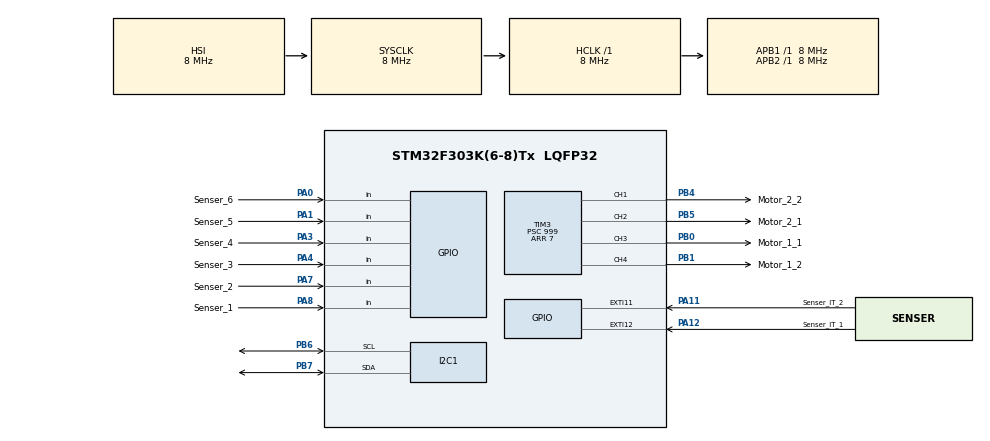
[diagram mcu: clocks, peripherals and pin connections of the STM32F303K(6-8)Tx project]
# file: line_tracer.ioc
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Mcu.Family=STM32F3
Mcu.Name=STM32F303K(6-8)Tx
Mcu.Package=LQFP32
NVIC.EXTI15_10_IRQn=true\:1\:0\:true\:false\:true\:true
NVIC.PriorityGroup=NVIC_PRIORITYGROUP_4
NVIC.TIM6_DAC1_IRQn=true\:1\:0\:true\:false\:true\:true
PA0.GPIO_Label=Senser_6
PA0.GPIO_PuPd=GPIO_PULLDOWN
PA0.Signal=GPIO_Input
PA1.GPIO_Label=Senser_5
PA1.GPIO_PuPd=GPIO_PULLDOWN
PA1.Signal=GPIO_Input
PA11.GPIO_Label=Senser_IT_2
PA11.GPIO_PuPd=GPIO_PULLDOWN
PA11.Signal=GPXTI11
PA12.GPIO_Label=Senser_IT_1
PA12.GPIO_PuPd=GPIO_PULLDOWN
PA12.Signal=GPXTI12
PA3.GPIO_Label=Senser_4
PA3.GPIO_PuPd=GPIO_PULLDOWN
PA3.Signal=GPIO_Input
PA4.GPIO_Label=Senser_3
PA4.GPIO_PuPd=GPIO_PULLDOWN
PA4.Signal=GPIO_Input
PA7.GPIO_Label=Senser_2
PA7.GPIO_PuPd=GPIO_PULLDOWN
PA7.Signal=GPIO_Input
PA8.GPIO_Label=Senser_1
PA8.GPIO_PuPd=GPIO_PULLDOWN
PA8.Signal=GPIO_Input
PB0.GPIO_Label=Motor_1_1
PB0.GPIO_PuPd=GPIO_PULLDOWN
PB0.Signal=S_TIM3_CH3
PB1.GPIO_Label=Motor_1_2
PB1.GPIO_PuPd=GPIO_PULLDOWN
PB1.Signal=S_TIM3_CH4
PB4.GPIO_Label=Motor_2_2
PB4.GPIO_PuPd=GPIO_PULLDOWN
PB4.Signal=S_TIM3_CH1
PB5.GPIO_Label=Motor_2_1
PB5.GPIO_PuPd=GPIO_PULLDOWN
PB5.Signal=S_TIM3_CH2
PB6.Mode=I2C
PB6.Signal=I2C1_SCL
PB7.Mode=I2C
PB7.Signal=I2C1_SDA
ProjectManager.HeapSize=0x200
ProjectManager.StackSize=0x400
ProjectManager.TargetToolchain=Makefile
RCC.AHBFreq_Value=8000000
RCC.APB1Freq_Value=8000000
RCC.APB2Freq_Value=8000000
RCC.CortexFreq_Value=8000000
RCC.HSE_VALUE=8000000
RCC.HSI_VALUE=8000000
RCC.SYSCLKFreq_VALUE=8000000
SH.S_TIM3_CH1.0=TIM3_CH1,PWM Generation1 CH1
SH.S_TIM3_CH2.0=TIM3_CH2,PWM Generation2 CH2
SH.S_TIM3_CH3.0=TIM3_CH3,PWM Generation3 CH3
SH.S_TIM3_CH4.0=TIM3_CH4,PWM Generation4 CH4
TIM3.Channel-PWM\ Generation1\ CH1=TIM_CHANNEL_1
TIM3.Channel-PWM\ Generation2\ CH2=TIM_CHANNEL_2
TIM3.Channel-PWM\ Generation3\ CH3=TIM_CHANNEL_3
TIM3.Channel-PWM\ Generation4\ CH4=TIM_CHANNEL_4
TIM3.Period=7
TIM3.Prescaler=999
TIM6.Period=7999
TIM6.Prescaler=1999
VP_TIM3_VS_ClockSourceINT.Mode=Internal
VP_TIM6_VS_ClockSourceINT.Mode=Enable_Timer
board=line_tracer

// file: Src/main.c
/**
  ******************************************************************************
  * @file           : main.c
  * @brief          : Main program body
  ******************************************************************************
  ** This notice applies to any and all portions of this file
  * that are not between comment pairs USER CODE BEGIN and
  * USER CODE END. Other portions of this file, whether
  * inserted by the user or by software development tools
  * are owned by their respective copyright owners.
  *
  * COPYRIGHT(c) 2018 STMicroelectronics
  *
  * Redistribution and use in source and binary forms, with or without modification,
  * are permitted provided that the following conditions are met:
  *   1. Redistributions of source code must retain the above copyright notice,
  *      this list of conditions and the following disclaimer.
  *   2. Redistributions in binary form must reproduce the above copyright notice,
  *      this list of conditions and the following disclaimer in the documentation
  *      and/or other materials provided with the distribution.
  *   3. Neither the name of STMicroelectronics nor the names of its contributors
  *      may be used to endorse or promote products derived from this software
  *      without specific prior written permission.
  *
  * THIS SOFTWARE IS PROVIDED BY THE COPYRIGHT HOLDERS AND CONTRIBUTORS "AS IS"
  * AND ANY EXPRESS OR IMPLIED WARRANTIES, INCLUDING, BUT NOT LIMITED TO, THE
  * IMPLIED WARRANTIES OF MERCHANTABILITY AND FITNESS FOR A PARTICULAR PURPOSE ARE
  * DISCLAIMED. IN NO EVENT SHALL THE COPYRIGHT HOLDER OR CONTRIBUTORS BE LIABLE
  * FOR ANY DIRECT, INDIRECT, INCIDENTAL, SPECIAL, EXEMPLARY, OR CONSEQUENTIAL
  * DAMAGES (INCLUDING, BUT NOT LIMITED TO, PROCUREMENT OF SUBSTITUTE GOODS OR
  * SERVICES; LOSS OF USE, DATA, OR PROFITS; OR BUSINESS INTERRUPTION) HOWEVER
  * CAUSED AND ON ANY THEORY OF LIABILITY, WHETHER IN CONTRACT, STRICT LIABILITY,
  * OR TORT (INCLUDING NEGLIGENCE OR OTHERWISE) ARISING IN ANY WAY OUT OF THE USE
  * OF THIS SOFTWARE, EVEN IF ADVISED OF THE POSSIBILITY OF SUCH DAMAGE.
  *
  ******************************************************************************
  */
#include "main.h"
#include "stm32f3xx_hal.h"

/* USER CODE BEGIN Includes */
#include "LCD.h"
/* USER CODE END Includes */

I2C_HandleTypeDef hi2c1;

TIM_HandleTypeDef htim3;
TIM_HandleTypeDef htim6;

/* USER CODE BEGIN PV */
/* Private variables ---------------------------------------------------------*/
LCD_HandleTypeDef hlcd;
/* USER CODE END PV */

void SystemClock_Config(void);
static void MX_GPIO_Init(void);
static void MX_TIM3_Init(void);
static void MX_TIM6_Init(void);
static void MX_I2C1_Init(void);

void HAL_TIM_MspPostInit(TIM_HandleTypeDef *htim);

/* USER CODE BEGIN PFP */
/* Private function prototypes -----------------------------------------------*/
static void change_duty(TIM_HandleTypeDef *htim, uint32_t channel, uint8_t duty);
static void MY_LCD_Init(void);
/* USER CODE END PFP */

/* USER CODE BEGIN 0 */
static void change_duty(TIM_HandleTypeDef *htim, uint32_t channel, uint8_t duty) {
  assert_param(IS_TIM_CHANNELS(channel));
  switch (channel)
  {
    case TIM_CHANNEL_1:
    {
      assert_param(IS_TIM_CC1_INSTANCE(htim->Instance));
      if (htim->Instance->CCMR1 & TIM_CCMR1_OC1PE)
          htim->Instance->CCR1 = duty;
    }
    break;
    case TIM_CHANNEL_2:
    {
      assert_param(IS_TIM_CC2_INSTANCE(htim->Instance));
      if (htim->Instance->CCMR1 & TIM_CCMR1_OC2PE)
          htim->Instance->CCR2 = duty;
    }
    break;
    case TIM_CHANNEL_3:
    {
      assert_param(IS_TIM_CC3_INSTANCE(htim->Instance));
      if (htim->Instance->CCMR2 & TIM_CCMR2_OC3PE)
          htim->Instance->CCR3 = duty;
    }
    break;
    case TIM_CHANNEL_4:
    {
      assert_param(IS_TIM_CC4_INSTANCE(htim->Instance));
      if (htim->Instance->CCMR2 & TIM_CCMR2_OC4PE)
          htim->Instance->CCR4 = duty;
    }
    break;
  }
}

void poll_sensers() {
    // TODO
#define PIN_STATE_TO_INT(state) ((state) == GPIO_PIN_SET ? 1 : 0)
#define SENSER_STATE(n) (PIN_STATE_TO_INT(HAL_GPIO_ReadPin(Senser_Port, Senser_ ## n ## _Pin))+'0')
    volatile GPIO_TypeDef* Port=Senser_Port;
    volatile uint32_t IDR = Senser_Port->IDR;
    /** char buf[8] = { */
    /**     SENSER_STATE(1), */
    /**     SENSER_STATE(2), */
    /**     SENSER_STATE(3), */
    /**     SENSER_STATE(4), */
    /**     SENSER_STATE(5), */
    /**     SENSER_STATE(6), */
    /**     '\0' */
    /** }; */
    /** LCD_Clear(&hlcd); */
    /** LCD_Write(&hlcd, buf);  */
    return;
}
/* USER CODE END 0 */

int main(void)
{

  /* MCU Configuration----------------------------------------------------------*/

  /* Reset of all peripherals, Initializes the Flash interface and the Systick. */
  HAL_Init();

  /* Configure the system clock */
  SystemClock_Config();

  /* Initialize all configured peripherals */
  MX_GPIO_Init();
  MX_TIM3_Init();
  MX_TIM6_Init();
  MX_I2C1_Init();
  /* USER CODE BEGIN 2 */
  // Initialize LCD
  /** MY_LCD_Init(); */

  // Initialize PWM
  change_duty(&htim3, Motor_1_1_Channel, 8);
  change_duty(&htim3, Motor_1_2_Channel, 1);
  change_duty(&htim3, Motor_2_1_Channel, 2);
  change_duty(&htim3, Motor_2_2_Channel, 0);

  HAL_TIM_PWM_Start(&htim3, Motor_1_1_Channel);
  HAL_TIM_PWM_Start(&htim3, Motor_1_2_Channel);
  HAL_TIM_PWM_Start(&htim3, Motor_2_1_Channel);
  HAL_TIM_PWM_Start(&htim3, Motor_2_2_Channel);

  HAL_TIM_Base_Start_IT(&htim6);

  /** LCD_Clear(&hlcd); */
  /** LCD_Write(&hlcd, "hello world"); */
  /* USER CODE END 2 */

  /* Infinite loop */
  while (1)
  {

  }

}

void SystemClock_Config(void)
{

  RCC_OscInitTypeDef RCC_OscInitStruct;
  RCC_ClkInitTypeDef RCC_ClkInitStruct;
  RCC_PeriphCLKInitTypeDef PeriphClkInit;

    /**Initializes the CPU, AHB and APB busses clocks
    */
  RCC_OscInitStruct.OscillatorType = RCC_OSCILLATORTYPE_HSI;
  RCC_OscInitStruct.HSIState = RCC_HSI_ON;
  RCC_OscInitStruct.HSICalibrationValue = 16;
  RCC_OscInitStruct.PLL.PLLState = RCC_PLL_NONE;
  if (HAL_RCC_OscConfig(&RCC_OscInitStruct) != HAL_OK)
  {
    _Error_Handler(__FILE__, __LINE__);
  }

    /**Initializes the CPU, AHB and APB busses clocks
    */
  RCC_ClkInitStruct.ClockType = RCC_CLOCKTYPE_HCLK|RCC_CLOCKTYPE_SYSCLK
                              |RCC_CLOCKTYPE_PCLK1|RCC_CLOCKTYPE_PCLK2;
  RCC_ClkInitStruct.SYSCLKSource = RCC_SYSCLKSOURCE_HSI;
  RCC_ClkInitStruct.AHBCLKDivider = RCC_SYSCLK_DIV1;
  RCC_ClkInitStruct.APB1CLKDivider = RCC_HCLK_DIV1;
  RCC_ClkInitStruct.APB2CLKDivider = RCC_HCLK_DIV1;

  if (HAL_RCC_ClockConfig(&RCC_ClkInitStruct, FLASH_LATENCY_0) != HAL_OK)
  {
    _Error_Handler(__FILE__, __LINE__);
  }

  PeriphClkInit.PeriphClockSelection = RCC_PERIPHCLK_I2C1;
  PeriphClkInit.I2c1ClockSelection = RCC_I2C1CLKSOURCE_HSI;
  if (HAL_RCCEx_PeriphCLKConfig(&PeriphClkInit) != HAL_OK)
  {
    _Error_Handler(__FILE__, __LINE__);
  }

    /**Configure the Systick interrupt time
    */
  HAL_SYSTICK_Config(HAL_RCC_GetHCLKFreq()/1000);

    /**Configure the Systick
    */
  HAL_SYSTICK_CLKSourceConfig(SYSTICK_CLKSOURCE_HCLK);

  /* SysTick_IRQn interrupt configuration */
  HAL_NVIC_SetPriority(SysTick_IRQn, 0, 0);
}

/* I2C1 init function */
static void MX_I2C1_Init(void)
{

  hi2c1.Instance = I2C1;
  hi2c1.Init.Timing = 0x2000090E;
  hi2c1.Init.OwnAddress1 = 0;
  hi2c1.Init.AddressingMode = I2C_ADDRESSINGMODE_7BIT;
  hi2c1.Init.DualAddressMode = I2C_DUALADDRESS_DISABLE;
  hi2c1.Init.OwnAddress2 = 0;
  hi2c1.Init.OwnAddress2Masks = I2C_OA2_NOMASK;
  hi2c1.Init.GeneralCallMode = I2C_GENERALCALL_DISABLE;
  hi2c1.Init.NoStretchMode = I2C_NOSTRETCH_DISABLE;
  if (HAL_I2C_Init(&hi2c1) != HAL_OK)
  {
    _Error_Handler(__FILE__, __LINE__);
  }

    /**Configure Analogue filter
    */
  if (HAL_I2CEx_ConfigAnalogFilter(&hi2c1, I2C_ANALOGFILTER_ENABLE) != HAL_OK)
  {
    _Error_Handler(__FILE__, __LINE__);
  }

    /**Configure Digital filter
    */
  if (HAL_I2CEx_ConfigDigitalFilter(&hi2c1, 0) != HAL_OK)
  {
    _Error_Handler(__FILE__, __LINE__);
  }

}

/* TIM3 init function */
static void MX_TIM3_Init(void)
{

  TIM_ClockConfigTypeDef sClockSourceConfig;
  TIM_MasterConfigTypeDef sMasterConfig;
  TIM_OC_InitTypeDef sConfigOC;

  htim3.Instance = TIM3;
  htim3.Init.Prescaler = 999;
  htim3.Init.CounterMode = TIM_COUNTERMODE_UP;
  htim3.Init.Period = 7;
  htim3.Init.ClockDivision = TIM_CLOCKDIVISION_DIV1;
  htim3.Init.AutoReloadPreload = TIM_AUTORELOAD_PRELOAD_DISABLE;
  if (HAL_TIM_Base_Init(&htim3) != HAL_OK)
  {
    _Error_Handler(__FILE__, __LINE__);
  }

  sClockSourceConfig.ClockSource = TIM_CLOCKSOURCE_INTERNAL;
  if (HAL_TIM_ConfigClockSource(&htim3, &sClockSourceConfig) != HAL_OK)
  {
    _Error_Handler(__FILE__, __LINE__);
  }

  if (HAL_TIM_PWM_Init(&htim3) != HAL_OK)
  {
    _Error_Handler(__FILE__, __LINE__);
  }

  sMasterConfig.MasterOutputTrigger = TIM_TRGO_RESET;
  sMasterConfig.MasterSlaveMode = TIM_MASTERSLAVEMODE_DISABLE;
  if (HAL_TIMEx_MasterConfigSynchronization(&htim3, &sMasterConfig) != HAL_OK)
  {
    _Error_Handler(__FILE__, __LINE__);
  }

  sConfigOC.OCMode = TIM_OCMODE_PWM1;
  sConfigOC.Pulse = 0;
  sConfigOC.OCPolarity = TIM_OCPOLARITY_HIGH;
  sConfigOC.OCFastMode = TIM_OCFAST_DISABLE;
  if (HAL_TIM_PWM_ConfigChannel(&htim3, &sConfigOC, TIM_CHANNEL_1) != HAL_OK)
  {
    _Error_Handler(__FILE__, __LINE__);
  }

  if (HAL_TIM_PWM_ConfigChannel(&htim3, &sConfigOC, TIM_CHANNEL_2) != HAL_OK)
  {
    _Error_Handler(__FILE__, __LINE__);
  }

  if (HAL_TIM_PWM_ConfigChannel(&htim3, &sConfigOC, TIM_CHANNEL_3) != HAL_OK)
  {
    _Error_Handler(__FILE__, __LINE__);
  }

  if (HAL_TIM_PWM_ConfigChannel(&htim3, &sConfigOC, TIM_CHANNEL_4) != HAL_OK)
  {
    _Error_Handler(__FILE__, __LINE__);
  }

  HAL_TIM_MspPostInit(&htim3);

}

/* TIM6 init function */
static void MX_TIM6_Init(void)
{

  TIM_MasterConfigTypeDef sMasterConfig;

  htim6.Instance = TIM6;
  htim6.Init.Prescaler = 999;
  htim6.Init.CounterMode = TIM_COUNTERMODE_UP;
  htim6.Init.Period = 7999;
  htim6.Init.AutoReloadPreload = TIM_AUTORELOAD_PRELOAD_DISABLE;
  if (HAL_TIM_Base_Init(&htim6) != HAL_OK)
  {
    _Error_Handler(__FILE__, __LINE__);
  }

  sMasterConfig.MasterOutputTrigger = TIM_TRGO_RESET;
  sMasterConfig.MasterSlaveMode = TIM_MASTERSLAVEMODE_DISABLE;
  if (HAL_TIMEx_MasterConfigSynchronization(&htim6, &sMasterConfig) != HAL_OK)
  {
    _Error_Handler(__FILE__, __LINE__);
  }

}

/** Configure pins as
        * Analog
        * Input
        * Output
        * EVENT_OUT
        * EXTI
*/
static void MX_GPIO_Init(void)
{

  GPIO_InitTypeDef GPIO_InitStruct;

  /* GPIO Ports Clock Enable */
  __HAL_RCC_GPIOA_CLK_ENABLE();
  __HAL_RCC_GPIOB_CLK_ENABLE();

  /*Configure GPIO pins : Senser_6_Pin Senser_5_Pin Senser_4_Pin Senser_3_Pin
                           Senser_2_Pin Senser_1_Pin */
  GPIO_InitStruct.Pin = Senser_6_Pin|Senser_5_Pin|Senser_4_Pin|Senser_3_Pin
                          |Senser_2_Pin|Senser_1_Pin;
  GPIO_InitStruct.Mode = GPIO_MODE_INPUT;
  GPIO_InitStruct.Pull = GPIO_PULLDOWN;
  HAL_GPIO_Init(GPIOA, &GPIO_InitStruct);

  /*Configure GPIO pins : Senser_IT_2_Pin Senser_IT_1_Pin */
  GPIO_InitStruct.Pin = Senser_IT_2_Pin|Senser_IT_1_Pin;
  GPIO_InitStruct.Mode = GPIO_MODE_IT_RISING;
  GPIO_InitStruct.Pull = GPIO_PULLDOWN;
  HAL_GPIO_Init(GPIOA, &GPIO_InitStruct);

  /* EXTI interrupt init*/
  HAL_NVIC_SetPriority(EXTI15_10_IRQn, 1, 0);
  HAL_NVIC_EnableIRQ(EXTI15_10_IRQn);

}

/* USER CODE BEGIN 4 */
static void MY_LCD_Init(void) {
  hlcd.addr = 0x7c;
  hlcd.hi2c = &hi2c1;
  hlcd.Init.line_num = LCD_DOUBLE_LINE;
  hlcd.Init.double_height = LCD_OFF;
  hlcd.Init.cursor = LCD_ON;
  hlcd.Init.blink = LCD_OFF;
  hlcd.Init.contrast = 6;
  if (LCD_Init(&hlcd) != HAL_OK)
  {
    _Error_Handler(__FILE__, __LINE__);
  }
}

void HAL_GPIO_EXTI_Callback (uint16_t GPIO_Pin) {
    switch (GPIO_Pin) {
        case Senser_IT_1_Pin:
            // TODO
            LCD_Clear(&hlcd);
            LCD_Write(&hlcd, "push 1");
            change_duty(&htim3, Motor_2_1_Channel, 2);
            break;
        case Senser_IT_2_Pin:
            // TODO
            LCD_Clear(&hlcd);
            LCD_Write(&hlcd, "push 2");
            change_duty(&htim3, Motor_2_1_Channel, 6);
            break;
    }
}

void HAL_TIM_PeriodElapsedCallback (TIM_HandleTypeDef * htim) {
    if (htim->Instance == htim6.Instance) {
        poll_sensers();
    }
}
/* USER CODE END 4 */

void _Error_Handler(char *file, int line)
{
  while(1)
  {
  }
}

/************************ (C) COPYRIGHT STMicroelectronics *****END OF FILE****/
